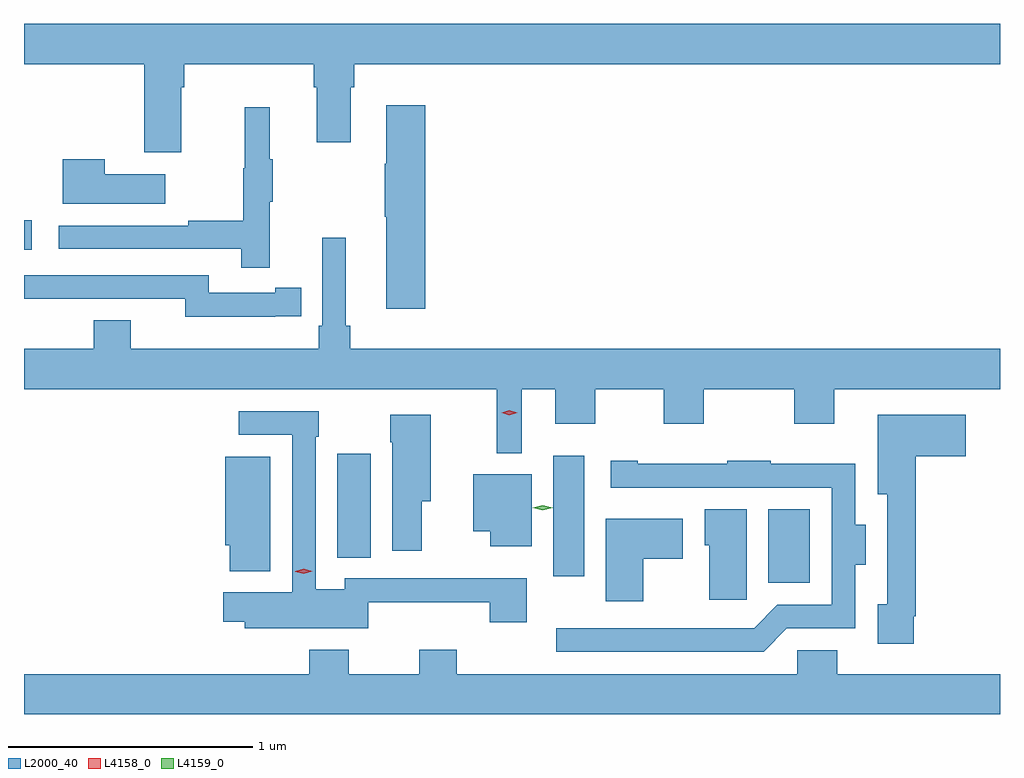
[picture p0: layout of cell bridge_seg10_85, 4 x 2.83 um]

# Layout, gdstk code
import gdstk
lib = gdstk.Library(unit=1e-6, precision=1e-09)
def R(c, l, rs):  # rectangles x0, y0, x1, y1
    for r in rs: c.add(gdstk.rectangle(r[:2], r[2:], *l))
def P(c, l, *ps):  # polygons
    for p in ps: c.add(gdstk.Polygon(p, *l))
L2000_40 = (2000, 40)
L4158_0 = (4158, 0)
L4159_0 = (4159, 0)

bridge_seg10_85 = lib.new_cell('bridge_seg10_85')
R(bridge_seg10_85, L2000_40, [(659.966,1283.537,660.136,1283.839), (659.084,1283.565,659.212,1284.058), (658.199,1283.641,658.336,1284.067), (656.915,1284.903,656.947,1285.023)])
P(bridge_seg10_85, L2000_40, [(657.559,1285.568),(657.572,1285.568),(657.572,1285.664),(658.103,1285.664),(658.103,1285.568),(658.115,1285.568),(658.115,1285.344),(658.255,1285.344),(658.255,1285.568),(658.268,1285.568),(658.268,1285.664),(660.915,1285.664),(660.915,1285.828),(656.915,1285.828),(656.915,1285.664),(657.407,1285.664),(657.407,1285.302),(657.559,1285.302)],
  [(658.559,1285.495),(658.4,1285.495),(658.4,1285.256),(658.393,1285.256),(658.393,1285.039),(658.4,1285.039),(658.4,1284.66),(658.559,1284.66)],
  [(657.923,1285.099),(657.934,1285.099),(657.934,1285.273),(657.923,1285.273),(657.923,1285.486),(657.82,1285.486),(657.82,1285.236),(657.813,1285.236),(657.813,1285.022),(657.589,1285.022),(657.589,1285.002),(657.057,1285.002),(657.057,1284.906),(657.805,1284.906),(657.805,1284.828),(657.923,1284.828)],
  [(657.493,1285.213),(657.245,1285.213),(657.245,1285.273),(657.074,1285.273),(657.074,1285.091),(657.493,1285.091)],
  [(658.852,1284.069),(658.954,1284.069),(658.954,1284.332),(659.093,1284.332),(659.093,1284.189),(659.257,1284.189),(659.257,1284.332),(659.537,1284.332),(659.537,1284.189),(659.701,1284.189),(659.701,1284.332),(660.071,1284.332),(660.071,1284.189),(660.235,1284.189),(660.235,1284.332),(660.915,1284.332),(660.915,1284.496),(658.253,1284.496),(658.253,1284.592),(658.234,1284.592),(658.234,1284.952),(658.137,1284.952),(658.137,1284.592),(658.124,1284.592),(658.124,1284.496),(657.352,1284.496),(657.352,1284.613),(657.2,1284.613),(657.2,1284.496),(656.915,1284.496),(656.915,1284.332),(658.852,1284.332)],
  [(657.944,1284.63),(658.052,1284.63),(658.052,1284.746),(657.944,1284.746),(657.944,1284.726),(657.672,1284.726),(657.672,1284.798),(656.915,1284.798),(656.915,1284.701),(657.116,1284.701),(657.116,1284.702),(657.576,1284.702),(657.576,1284.629),(657.944,1284.629)],
  [(658.326,1283.459),(658.823,1283.459),(658.823,1283.376),(658.975,1283.376),(658.975,1283.557),(658.739,1283.557),(658.739,1283.556),(658.23,1283.556),(658.23,1283.512),(658.11,1283.512),(658.11,1284.137),(658.123,1284.137),(658.123,1284.24),(657.795,1284.24),(657.795,1284.144),(658.014,1284.144),(658.014,1283.5),(657.732,1283.5),(657.732,1283.378),(657.819,1283.378),(657.819,1283.351),(658.326,1283.351)],
  [(660.562,1283.401),(660.569,1283.401),(660.569,1284.056),(660.775,1284.056),(660.775,1284.226),(660.413,1284.226),(660.413,1283.9),(660.453,1283.9),(660.453,1283.449),(660.413,1283.449),(660.413,1283.289),(660.562,1283.289)],
  [(658.546,1283.873),(658.582,1283.873),(658.582,1284.226),(658.417,1284.226),(658.417,1284.113),(658.424,1284.113),(658.424,1283.67),(658.546,1283.67)],
  [(657.925,1284.055),(657.74,1284.055),(657.74,1283.691),(657.758,1283.691),(657.758,1283.585),(657.925,1283.585)],
  [(660.042,1283.352),(660.322,1283.352),(660.322,1283.612),(660.364,1283.612),(660.364,1283.776),(660.321,1283.776),(660.321,1284.025),(659.975,1284.025),(659.975,1284.037),(659.797,1284.037),(659.797,1284.025),(659.431,1284.025),(659.431,1284.037),(659.319,1284.037),(659.319,1283.928),(660.225,1283.928),(660.225,1283.448),(660.003,1283.448),(659.907,1283.352),(659.097,1283.352),(659.097,1283.256),(659.946,1283.256)],
  [(658.996,1283.983),(658.757,1283.983),(658.757,1283.75),(658.826,1283.75),(658.826,1283.687),(658.996,1283.687)],
  [(659.878,1283.839),(659.705,1283.839),(659.705,1283.691),(659.723,1283.691),(659.723,1283.469),(659.878,1283.469)],
  [(659.452,1283.636),(659.614,1283.636),(659.614,1283.8),(659.3,1283.8),(659.3,1283.463),(659.452,1283.463)],
  [(660.915,1283.164),(660.248,1283.164),(660.248,1283.262),(660.084,1283.262),(660.084,1283.164),(658.689,1283.164),(658.689,1283.263),(658.534,1283.263),(658.534,1283.164),(658.245,1283.164),(658.245,1283.263),(658.085,1283.263),(658.085,1283.164),(656.915,1283.164),(656.915,1283),(660.915,1283)])
P(bridge_seg10_85, L4158_0, [(658.904,1284.224),(658.872,1284.234),(658.871,1284.234),(658.872,1284.234),(658.904,1284.244),(658.937,1284.235),(658.937,1284.234),(658.937,1284.234)],
  [(658.062,1283.575),(658.027,1283.584),(658.027,1283.584),(658.027,1283.585),(658.062,1283.595),(658.097,1283.586),(658.097,1283.586),(658.097,1283.586)])
P(bridge_seg10_85, L4159_0, [(659.042,1283.836),(659.001,1283.846),(659.001,1283.846),(659.001,1283.846),(659.042,1283.856),(659.082,1283.846),(659.083,1283.846),(659.082,1283.845)])

lib.write_gds('bridge_seg10_85.gds')
